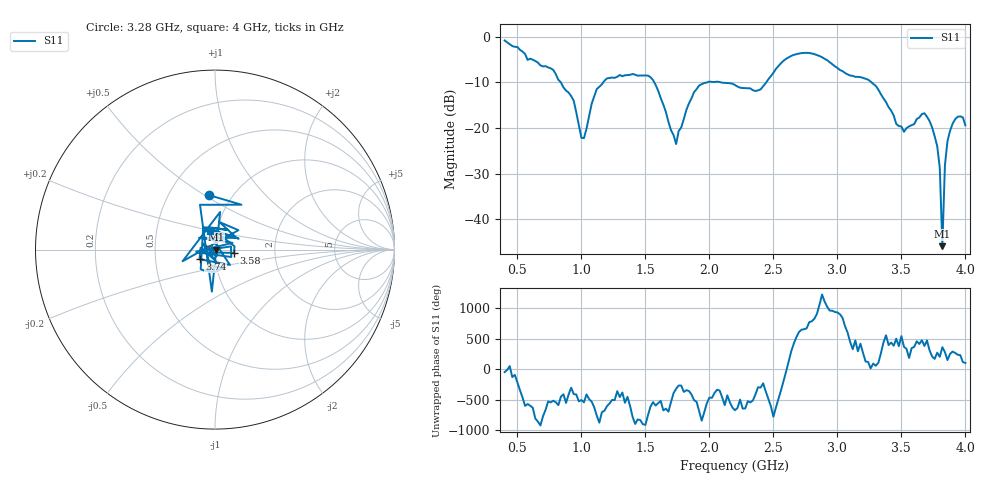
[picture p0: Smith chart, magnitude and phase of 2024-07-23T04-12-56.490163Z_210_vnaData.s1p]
!Created with skrf (http://scikit-rf.org).
# Hz S RI R 50.0
!freq ReS11 ImS11
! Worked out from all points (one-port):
!   181 points, 400 MHz to 4 GHz, reference 50 ohm
!   lowest |S11| = -45.9 dB at 3.82 GHz (marker M1), VSWR 1.01, Z = 50.5 + j0.0445 ohm
!   |S11| at or under -10 dB: 1.57 GHz to 1.981 GHz (410.8 MHz wide, 23.1 % of centre); 2.093 GHz to 2.443 GHz (350.6 MHz wide, 15.5 % of centre); 3.268 GHz to end of sweep (the widest 3 of 4)
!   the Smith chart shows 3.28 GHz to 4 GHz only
!   S11 on the Smith chart (normalised r, x): 3.28 GHz: 0.78, +0.52; 3.58 GHz: 1.24, -0.05; 3.74 GHz: 0.84, -0.09; 4 GHz: 0.93, +0.19
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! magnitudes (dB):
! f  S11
! 400 MHz  -0.8
! 780 MHz  -7.2
! 860 MHz  -11.1
! 940 MHz  -14.0
! 1 GHz  -22.2
! 1.02 GHz  -22.2
! 1.12 GHz  -11.4
! 1.3 GHz  -8.4
! 1.54 GHz  -8.8
! 1.74 GHz  -23.5
! 1.76 GHz  -20.7
! 1.92 GHz  -10.7
! 2.2 GHz  -10.6
! 2.4 GHz  -11.5
! 2.66 GHz  -3.9
! 3.1 GHz  -8.5
! 3.28 GHz  -10.3
! 3.46 GHz  -19.1
! 3.56 GHz  -19.6
! 3.58 GHz  -19.4
! 3.68 GHz  -16.8
! 3.74 GHz  -19.9
! 3.8 GHz  -28.8
! 3.82 GHz  -45.9
! 3.84 GHz  -28.2
! 3.86 GHz  -22.9
! 3.94 GHz  -17.5
! 4 GHz  -19.4
